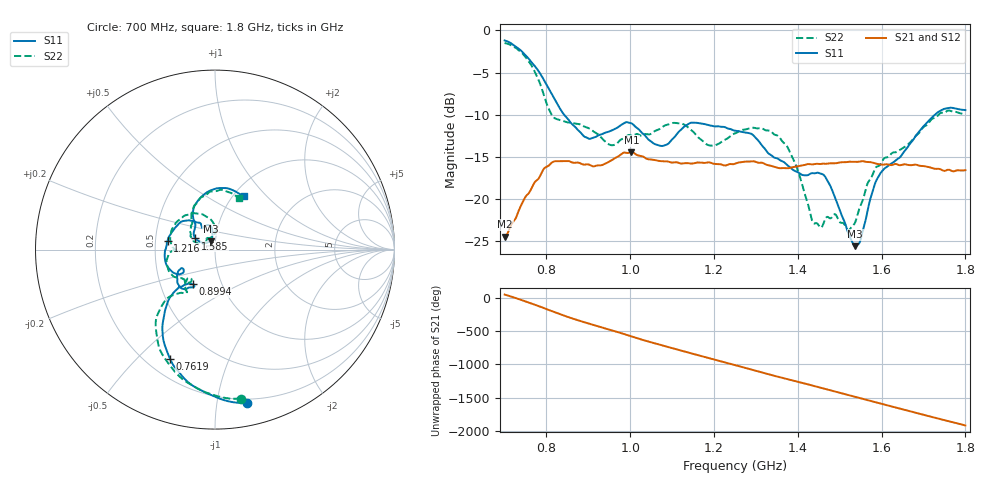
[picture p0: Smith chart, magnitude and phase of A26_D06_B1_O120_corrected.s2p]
! Created with skrf 1.9.0 (http://scikit-rf.org).
# Hz S RI R 50.0
!freq ReS11 ImS11 ReS21 ImS21 ReS12 ImS12 ReS22 ImS22
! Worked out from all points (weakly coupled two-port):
!   1601 points, 700 MHz to 1.8 GHz, reference 50 ohm
!   highest |S21| = -14.42 dB at 1.002 GHz (marker M1); lowest = -24.4 dB at 701.4 MHz (marker M2)
!   lowest |S11| = -25.6 dB at 1.537 GHz (marker M3), VSWR 1.11, Z = 47.4 + j4.42 ohm
!   |S11| at or under -10 dB: 842.3 MHz to 1.727 GHz (884.6 MHz wide, 68.9 % of centre)
!   |S22| runs from -23.7 to -1.5 dB; largest |S21 - S12| = 0.0035
!   S11 on the Smith chart (normalised r, x): 700 MHz: 0.17, -1.21; 761.9 MHz: 0.29, -0.63; 899.4 MHz: 0.73, -0.30; 1.216 GHz: 0.58, +0.06; 1.585 GHz: 0.80, +0.10; 1.8 GHz: 1.12, +0.75
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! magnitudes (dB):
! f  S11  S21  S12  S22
! 700 MHz  -1.2  -24.4  -24.2  -1.5
! 701.4 MHz  -1.2  -24.4  -24.0  -1.5
! 761.9 MHz  -3.6  -18.9  -18.9  -4.0
! 815.5 MHz  -7.8  -15.6  -15.6  -10.2
! 883.6 MHz  -12.2  -15.8  -15.7  -11.2
! 899.4 MHz  -12.8  -15.9  -15.9  -11.6
! 954.4 MHz  -11.9  -15.4  -15.4  -13.6
! 1.002 GHz  -11.0  -14.4  -14.5  -12.5
! 1.067 GHz  -13.6  -15.4  -15.4  -11.8
! 1.144 GHz  -10.9  -15.8  -15.8  -11.7
! 1.216 GHz  -11.4  -15.9  -15.9  -13.3
! 1.25 GHz  -11.9  -15.8  -15.7  -12.2
! 1.356 GHz  -15.3  -16.3  -16.2  -12.6
! 1.395 GHz  -16.7  -16.1  -16.1  -15.9
! 1.434 GHz  -16.9  -15.9  -15.8  -22.5
! 1.469 GHz  -17.6  -15.8  -15.8  -22.1
! 1.537 GHz  -25.6  -15.6  -15.6  -22.8
! 1.55 GHz  -24.7  -15.5  -15.5  -20.7
! 1.585 GHz  -18.0  -15.8  -15.8  -16.3
! 1.617 GHz  -16.0  -15.9  -15.9  -14.9
! 1.734 GHz  -9.7  -16.4  -16.4  -10.1
! 1.8 GHz  -9.4  -16.6  -16.6  -10.0
